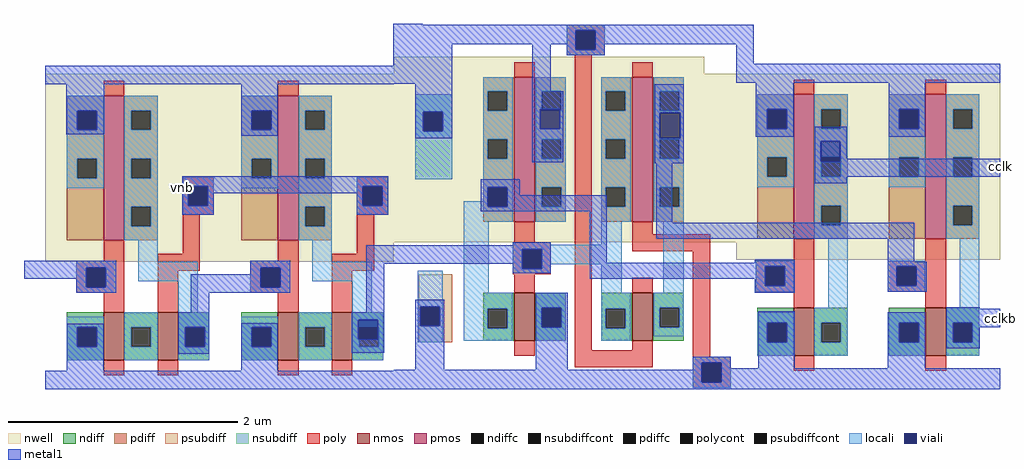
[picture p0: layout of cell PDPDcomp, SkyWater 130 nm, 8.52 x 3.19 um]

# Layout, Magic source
magic
tech sky130A
magscale 1 2
<< viali >>
rect 63 449 97 483
rect 367 449 401 483
rect 1360 394 1394 429
rect 257 317 291 351
rect 561 317 595 351
rect 79 175 113 209
rect 383 175 417 209
rect 839 207 873 241
rect 63 71 97 105
rect 251 71 285 105
rect 367 71 401 105
rect 553 84 587 118
rect 1591 79 1625 113
<< metal1 >>
rect 44 483 110 556
rect 44 449 63 483
rect 97 449 110 483
rect 44 442 110 449
rect 349 483 413 553
rect 614 530 666 634
rect 349 449 367 483
rect 401 449 413 483
rect 349 439 413 449
rect 1350 429 1406 455
rect 1350 394 1360 429
rect 1394 399 1406 429
rect 1394 394 1673 399
rect 246 351 606 368
rect 1350 367 1673 394
rect 1350 356 1406 367
rect 246 317 257 351
rect 291 339 561 351
rect 291 317 301 339
rect 246 301 301 317
rect 551 317 561 339
rect 595 317 606 351
rect 551 301 606 317
rect 823 248 889 253
rect 567 241 889 248
rect -30 209 131 221
rect -30 189 79 209
rect 61 175 79 189
rect 113 175 131 209
rect 365 209 435 221
rect 365 197 383 209
rect 61 165 131 175
rect 261 175 383 197
rect 417 175 435 209
rect 261 165 435 175
rect 567 216 839 241
rect 261 131 293 165
rect 567 131 599 216
rect 823 207 839 216
rect 873 207 889 241
rect 823 199 889 207
rect 45 105 109 111
rect 45 71 63 105
rect 97 71 109 105
rect 45 22 109 71
rect 239 105 293 131
rect 542 118 599 131
rect 239 71 251 105
rect 285 71 293 105
rect 239 59 293 71
rect 349 105 413 112
rect 349 71 367 105
rect 401 71 413 105
rect 349 23 413 71
rect 542 84 553 118
rect 587 84 599 118
rect 542 60 599 84
rect 1579 137 1638 140
rect 1579 113 1673 137
rect 1579 79 1591 113
rect 1625 105 1673 113
rect 1625 79 1638 105
rect 1579 68 1638 79
use comp_clks  comp_clks_0
transform 1 0 177 0 1 -537
box 438 534 1496 1170
use inv_weak_pulldown  inv_weak_pulldown_1
transform 1 0 433 0 1 75
box -122 -78 182 486
use inv_weak_pulldown  inv_weak_pulldown_0
transform 1 0 129 0 1 75
box -122 -78 182 486
<< labels >>
rlabel metal1 1673 385 1673 385 3 cclk
rlabel metal1 1673 120 1673 120 3 cclkb
rlabel metal1 246 349 246 349 7 vnb
<< end >>

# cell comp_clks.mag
magic
tech sky130A
<< nwell >>
rect 219 542 490 557
rect 219 395 531 542
<< nmos >>
rect 324 309 342 351
rect 427 309 445 351
<< pmos >>
rect 324 413 342 539
rect 427 413 445 539
<< ndiff >>
rect 297 337 324 351
rect 297 320 301 337
rect 318 320 324 337
rect 297 309 324 320
rect 342 338 369 351
rect 342 321 348 338
rect 365 321 369 338
rect 342 309 369 321
rect 400 337 427 351
rect 400 320 404 337
rect 421 320 427 337
rect 400 309 427 320
rect 445 338 472 351
rect 445 321 451 338
rect 468 321 472 338
rect 445 309 472 321
<< pdiff >>
rect 297 527 324 539
rect 297 510 301 527
rect 318 510 324 527
rect 297 485 324 510
rect 297 468 301 485
rect 318 468 324 485
rect 297 443 324 468
rect 297 426 301 443
rect 318 426 324 443
rect 297 413 324 426
rect 342 527 369 539
rect 342 510 348 527
rect 365 510 369 527
rect 342 485 369 510
rect 342 468 348 485
rect 365 468 369 485
rect 342 443 369 468
rect 342 426 348 443
rect 365 426 369 443
rect 342 413 369 426
rect 400 527 427 539
rect 400 510 404 527
rect 421 510 427 527
rect 400 485 427 510
rect 400 468 404 485
rect 421 468 427 485
rect 400 443 427 468
rect 400 426 404 443
rect 421 426 427 443
rect 400 413 427 426
rect 445 527 472 539
rect 445 510 451 527
rect 468 510 472 527
rect 445 485 472 510
rect 445 468 451 485
rect 468 468 472 485
rect 445 443 472 468
rect 445 426 451 443
rect 468 426 472 443
rect 445 413 472 426
<< ndiffc >>
rect 301 320 318 337
rect 348 321 365 338
rect 404 320 421 337
rect 451 321 468 338
<< pdiffc >>
rect 301 510 318 527
rect 301 468 318 485
rect 301 426 318 443
rect 348 510 365 527
rect 348 468 365 485
rect 348 426 365 443
rect 404 510 421 527
rect 404 468 421 485
rect 404 426 421 443
rect 451 510 468 527
rect 451 468 468 485
rect 451 426 468 443
<< psubdiff >>
rect 241 339 270 367
rect 241 322 242 339
rect 259 322 270 339
rect 241 308 270 322
<< nsubdiff >>
rect 238 509 270 524
rect 238 492 245 509
rect 262 492 270 509
rect 238 450 270 492
<< psubdiffcont >>
rect 242 322 259 339
<< nsubdiffcont >>
rect 245 492 262 509
<< poly >>
rect 370 580 403 585
rect 370 563 378 580
rect 395 563 403 580
rect 370 558 403 563
rect 324 539 342 552
rect 324 395 342 413
rect 323 389 356 395
rect 323 372 331 389
rect 348 372 356 389
rect 323 367 356 372
rect 324 351 342 367
rect 324 296 342 309
rect 377 301 392 558
rect 427 539 445 552
rect 427 402 445 413
rect 427 387 495 402
rect 427 351 445 364
rect 427 301 445 309
rect 377 286 445 301
rect 480 295 495 387
rect 480 290 513 295
rect 480 273 488 290
rect 505 273 513 290
rect 480 268 513 273
<< polycont >>
rect 378 563 395 580
rect 331 372 348 389
rect 658 357 675 374
rect 488 273 505 290
<< locali >>
rect 370 580 403 585
rect 370 563 378 580
rect 395 563 403 580
rect 370 558 403 563
rect 297 527 323 539
rect 238 509 270 524
rect 238 492 245 509
rect 262 492 270 509
rect 238 450 270 492
rect 297 510 301 527
rect 318 510 323 527
rect 297 485 323 510
rect 297 468 301 485
rect 318 468 323 485
rect 297 443 323 468
rect 297 431 301 443
rect 280 426 301 431
rect 318 426 323 443
rect 280 413 323 426
rect 343 527 369 539
rect 343 511 348 527
rect 343 494 347 511
rect 365 510 369 527
rect 364 494 369 510
rect 343 485 369 494
rect 343 468 348 485
rect 365 468 369 485
rect 343 443 369 468
rect 343 426 348 443
rect 365 426 369 443
rect 343 413 369 426
rect 400 527 426 539
rect 400 510 404 527
rect 421 510 426 527
rect 400 485 426 510
rect 400 468 404 485
rect 421 468 426 485
rect 400 443 426 468
rect 400 426 404 443
rect 421 426 426 443
rect 400 413 426 426
rect 446 527 472 539
rect 446 510 451 527
rect 468 510 472 527
rect 446 508 472 510
rect 446 486 451 508
rect 469 486 472 508
rect 446 485 472 486
rect 446 468 451 485
rect 468 468 472 485
rect 446 443 472 468
rect 446 426 451 443
rect 468 426 472 443
rect 446 413 472 426
rect 240 339 262 370
rect 240 322 242 339
rect 259 322 262 339
rect 240 308 262 322
rect 280 351 302 413
rect 323 393 356 395
rect 400 393 418 413
rect 323 389 418 393
rect 323 372 331 389
rect 348 376 418 389
rect 348 372 356 376
rect 323 368 356 372
rect 400 351 418 376
rect 454 351 472 413
rect 280 337 323 351
rect 280 320 301 337
rect 318 320 323 337
rect 280 309 323 320
rect 343 338 369 351
rect 343 321 348 338
rect 365 321 369 338
rect 343 309 369 321
rect 400 337 426 351
rect 400 320 404 337
rect 421 320 426 337
rect 400 309 426 320
rect 446 338 472 351
rect 446 321 451 338
rect 468 321 472 338
rect 446 313 472 321
rect 480 290 513 295
rect 480 273 488 290
rect 505 273 513 290
rect 480 268 513 273
<< viali >>
rect 378 563 395 580
rect 245 492 262 509
rect 301 426 318 443
rect 347 510 348 511
rect 348 510 364 511
rect 347 494 364 510
rect 451 486 469 508
rect 545 494 562 511
rect 660 494 677 511
rect 242 322 259 339
rect 543 357 560 374
rect 658 357 675 374
rect 348 321 365 338
rect 545 308 562 325
rect 660 308 677 325
rect 488 273 505 290
<< metal1 >>
rect 219 580 533 585
rect 219 568 378 580
rect 238 509 270 568
rect 238 492 245 509
rect 262 492 270 509
rect 238 486 270 492
rect 340 527 356 568
rect 370 563 378 568
rect 395 568 533 580
rect 395 563 403 568
rect 370 558 403 563
rect 518 534 533 568
rect 340 511 367 527
rect 340 494 347 511
rect 364 494 367 511
rect 340 465 367 494
rect 447 508 472 533
rect 447 486 451 508
rect 469 486 472 508
rect 535 511 568 545
rect 535 494 545 511
rect 562 494 568 511
rect 535 487 568 494
rect 651 511 683 545
rect 651 494 660 511
rect 677 494 683 511
rect 651 487 683 494
rect 447 464 472 486
rect 295 443 329 450
rect 295 426 301 443
rect 318 436 329 443
rect 318 426 405 436
rect 295 422 405 426
rect 390 377 405 422
rect 448 412 462 464
rect 448 398 673 412
rect 534 377 569 380
rect 390 374 569 377
rect 390 363 543 374
rect 534 357 543 363
rect 560 357 569 374
rect 534 351 569 357
rect 650 378 673 398
rect 650 374 684 378
rect 650 357 658 374
rect 675 357 684 374
rect 650 352 684 357
rect 238 339 263 345
rect 238 322 242 339
rect 259 322 263 339
rect 238 284 263 322
rect 343 338 371 351
rect 343 321 348 338
rect 365 321 371 338
rect 343 284 371 321
rect 537 325 569 335
rect 537 308 545 325
rect 562 308 569 325
rect 480 290 513 295
rect 480 284 488 290
rect 219 273 488 284
rect 505 285 513 290
rect 505 284 522 285
rect 505 273 518 284
rect 537 273 569 308
rect 650 325 683 334
rect 650 308 660 325
rect 677 308 683 325
rect 219 267 518 273
rect 650 269 683 308
use inv3x  inv3x_0
transform 1 0 578 0 1 307
box -60 -40 55 244
use inv3x  inv3x_1
transform 1 0 693 0 1 307
box -60 -40 55 244
<< labels >>
rlabel metal1 219 575 219 575 7 VDD
rlabel metal1 219 275 219 275 7 GND
<< end >>

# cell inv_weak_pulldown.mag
magic
tech sky130A
<< nwell >>
rect -61 72 91 236
<< nmos >>
rect -10 -14 8 28
rect 37 -14 55 28
<< pmos >>
rect -10 91 8 217
<< ndiff >>
rect -42 15 -10 28
rect -42 -2 -33 15
rect -16 -2 -10 15
rect -42 -14 -10 -2
rect 8 15 37 28
rect 8 -2 14 15
rect 31 -2 37 15
rect 8 -14 37 -2
rect 55 15 82 28
rect 55 -2 61 15
rect 78 -2 82 15
rect 55 -14 82 -2
<< pdiff >>
rect -42 204 -10 217
rect -42 187 -33 204
rect -16 187 -10 204
rect -42 162 -10 187
rect -42 145 -33 162
rect -16 145 -10 162
rect -42 91 -10 145
rect 8 204 37 217
rect 8 187 14 204
rect 31 187 37 204
rect 8 162 37 187
rect 8 145 14 162
rect 31 145 37 162
rect 8 120 37 145
rect 8 103 14 120
rect 31 103 37 120
rect 8 91 37 103
<< ndiffc >>
rect -33 -2 -16 15
rect 14 -2 31 15
rect 61 -2 78 15
<< pdiffc >>
rect -33 187 -16 204
rect -33 145 -16 162
rect 14 187 31 204
rect 14 145 31 162
rect 14 103 31 120
<< poly >>
rect -10 217 8 230
rect 59 138 86 146
rect 59 121 64 138
rect 81 121 86 138
rect 59 113 86 121
rect -10 73 8 91
rect 59 79 74 113
rect -34 67 8 73
rect -34 50 -25 67
rect -8 50 8 67
rect -34 45 8 50
rect -10 28 8 45
rect 37 64 74 79
rect 37 28 55 64
rect -10 -27 8 -14
rect 37 -27 55 -14
<< polycont >>
rect 64 121 81 138
rect -25 50 -8 67
<< locali >>
rect -42 204 -10 217
rect -42 187 -33 204
rect -16 187 -10 204
rect -42 162 -10 187
rect -42 145 -33 162
rect -16 145 -10 162
rect -42 136 -10 145
rect 8 204 37 217
rect 8 187 14 204
rect 31 187 37 204
rect 8 162 37 187
rect 8 145 14 162
rect 31 145 37 162
rect 8 120 37 145
rect 8 103 14 120
rect 31 103 37 120
rect 59 138 86 146
rect 59 121 64 138
rect 81 121 86 138
rect 59 113 86 121
rect 8 91 37 103
rect -34 67 1 73
rect -34 50 -25 67
rect -8 50 1 67
rect 20 72 37 91
rect 20 55 72 72
rect -34 45 1 50
rect 55 28 72 55
rect -42 15 -10 24
rect -42 -2 -33 15
rect -16 -2 -10 15
rect -42 -14 -10 -2
rect 8 15 37 28
rect 8 -2 14 15
rect 31 -2 37 15
rect 8 -14 37 -2
rect 55 15 82 28
rect 55 -2 61 15
rect 78 -2 82 15
rect 55 -14 82 -2
<< metal1 >>
rect -61 227 91 243
rect -61 -39 91 -23
<< labels >>
rlabel metal1 91 236 91 236 3 VDD
rlabel metal1 91 -35 91 -35 3 GND
<< end >>

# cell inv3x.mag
magic
tech sky130A
<< nwell >>
rect -60 73 55 235
<< nmos >>
rect -10 -11 8 31
<< pmos >>
rect -10 91 8 217
<< ndiff >>
rect -42 18 -10 31
rect -42 1 -33 18
rect -16 1 -10 18
rect -42 -11 -10 1
rect 8 18 37 31
rect 8 1 14 18
rect 31 1 37 18
rect 8 -11 37 1
<< pdiff >>
rect -42 204 -10 217
rect -42 187 -33 204
rect -16 187 -10 204
rect -42 162 -10 187
rect -42 145 -33 162
rect -16 145 -10 162
rect -42 91 -10 145
rect 8 204 37 217
rect 8 187 14 204
rect 31 187 37 204
rect 8 162 37 187
rect 8 145 14 162
rect 31 145 37 162
rect 8 120 37 145
rect 8 103 14 120
rect 31 103 37 120
rect 8 91 37 103
<< ndiffc >>
rect -33 1 -16 18
rect 14 1 31 18
<< pdiffc >>
rect -33 187 -16 204
rect -33 145 -16 162
rect 14 187 31 204
rect 14 145 31 162
rect 14 103 31 120
<< poly >>
rect -10 217 8 230
rect -10 72 8 91
rect -43 67 8 72
rect -43 50 -35 67
rect -18 50 8 67
rect -43 45 8 50
rect -10 31 8 45
rect -10 -24 8 -11
<< polycont >>
rect -35 50 -18 67
<< locali >>
rect -42 204 -10 217
rect -42 187 -33 204
rect -16 187 -10 204
rect -42 162 -10 187
rect -42 145 -33 162
rect -16 145 -10 162
rect -42 136 -10 145
rect 8 204 37 217
rect 8 187 14 204
rect 31 187 37 204
rect 8 162 37 187
rect 8 145 14 162
rect 31 145 37 162
rect 8 120 37 145
rect 8 103 14 120
rect 31 103 37 120
rect 8 91 37 103
rect -43 67 -10 72
rect -43 50 -35 67
rect -18 50 -10 67
rect -43 45 -10 50
rect 20 31 37 91
rect -42 18 -10 27
rect -42 1 -33 18
rect -16 1 -10 18
rect -42 -11 -10 1
rect 8 18 37 31
rect 8 1 14 18
rect 31 1 37 18
rect 8 -11 37 1
<< metal1 >>
rect -60 227 55 244
rect -60 -40 55 -22
<< end >>
